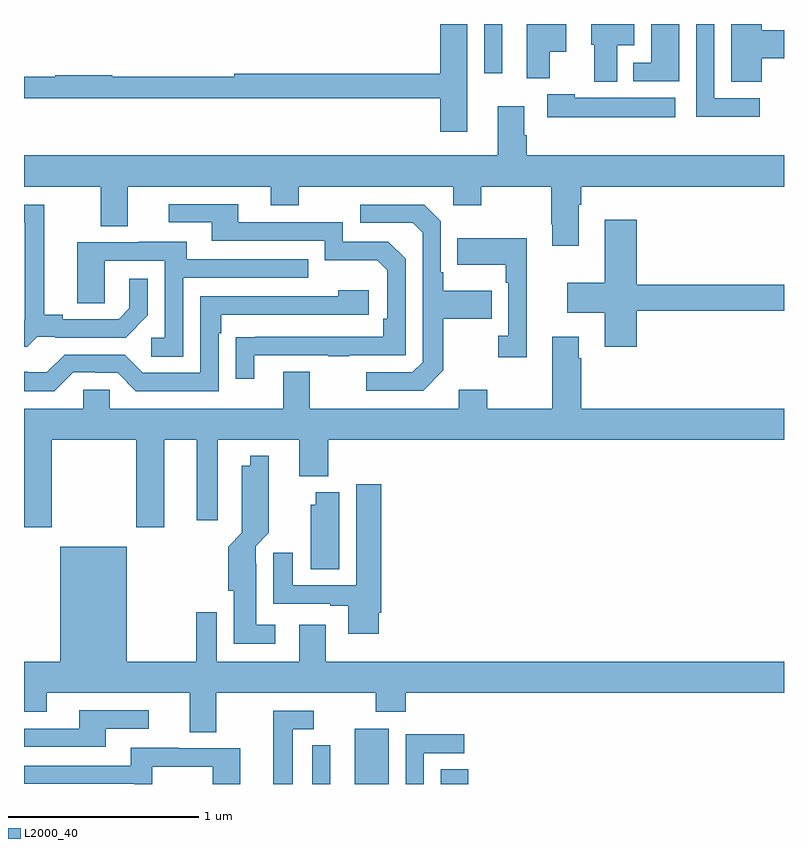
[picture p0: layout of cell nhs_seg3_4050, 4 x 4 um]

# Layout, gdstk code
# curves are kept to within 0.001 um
import gdstk
lib = gdstk.Library(unit=1e-6, precision=1e-09)
def R(c, l, rs):  # rectangles x0, y0, x1, y1
    for r in rs: c.add(gdstk.rectangle(r[:2], r[2:], *l))
def P(c, l, *ps):  # polygons
    for p in ps: c.add(gdstk.Polygon(p, *l))
L2000_40 = (2000, 40)

nhs_seg3_4050 = lib.new_cell('nhs_seg3_4050')
R(nhs_seg3_4050, L2000_40, [(324.74,736.4,324.919,736.69), (325.193,736.4,325.337,736.478), (325.422,740.142,325.518,740.4)])
P(nhs_seg3_4050, L2000_40, [(326.449,740.4),(326.3,740.4),(326.3,740.196),(326.207,740.196),(326.207,740.1),(326.449,740.1)],
  [(326.122,740.288),(326.212,740.288),(326.212,740.4),(325.985,740.4),(325.985,740.292),(326,740.292),(326,740.096),(326.122,740.096)],
  [(325.768,740.255),(325.855,740.255),(325.855,740.4),(325.646,740.4),(325.646,740.114),(325.768,740.114)],
  [(326.884,740.219),(327,740.219),(327,740.366),(326.884,740.366),(326.884,740.4),(326.723,740.4),(326.723,740.095),(326.884,740.095)],
  [(326.872,740.01),(326.634,740.01),(326.634,740.4),(326.538,740.4),(326.538,739.913),(326.872,739.913)],
  [(325.333,740.4),(325.19,740.4),(325.19,740.138),(324.106,740.138),(324.106,740.123),(323.465,740.123),(323.465,740.131),(323.165,740.131),(323.165,740.123),(323,740.123),(323,740.01),(325.19,740.01),(325.19,739.833),(325.333,739.833)],
  [(326.428,740.011),(325.899,740.011),(325.899,740.029),(325.755,740.029),(325.755,739.91),(326.428,739.91)],
  [(325.921,739.448),(325.934,739.448),(325.934,739.544),(327,739.544),(327,739.708),(325.646,739.708),(325.646,739.814),(325.633,739.814),(325.633,739.966),(325.493,739.966),(325.493,739.708),(323,739.708),(323,739.544),(323.405,739.544),(323.405,739.336),(323.545,739.336),(323.545,739.544),(324.299,739.544),(324.299,739.445),(324.447,739.445),(324.447,739.544),(325.26,739.544),(325.26,739.445),(325.407,739.445),(325.407,739.544),(325.774,739.544),(325.774,739.345),(325.781,739.345),(325.781,739.233),(325.921,739.233)],
  [(324.211,738.657),(324.601,738.657),(324.601,738.652),(324.713,738.652),(324.713,738.657),(325.008,738.657),(325.008,739.164),(324.918,739.254),(324.678,739.254),(324.678,739.356),(324.127,739.356),(324.127,739.452),(323.763,739.452),(323.763,739.356),(323.987,739.356),(323.987,739.26),(324.582,739.26),(324.582,739.157),(324.859,739.157),(324.912,739.104),(324.912,738.85),(324.892,738.85),(324.892,738.753),(324.115,738.752),(324.115,738.534),(324.211,738.534)],
  [(323.07,738.753),(323.164,738.753),(323.164,738.75),(323.536,738.75),(323.652,738.866),(323.652,739.06),(323.555,739.06),(323.555,738.903),(323.498,738.846),(323.203,738.846),(323.203,738.869),(323.107,738.869),(323.107,739.449),(323,739.449),(323,739.353),(323.003,739.353),(323.003,738.845),(323,738.842),(323,738.701),(323.018,738.701)],
  [(325.207,738.577),(325.207,738.85),(325.463,738.85),(325.463,738.997),(325.207,738.997),(325.207,739.093),(325.194,739.093),(325.194,739.362),(325.107,739.449),(324.771,739.449),(324.771,739.353),(325.047,739.353),(325.098,739.302),(325.098,738.621),(325.044,738.567),(324.801,738.567),(324.801,738.471),(325.101,738.471)],
  [(326.225,738.892),(327,738.892),(327,739.028),(326.225,739.028),(326.225,739.369),(326.057,739.369),(326.057,739.039),(325.86,739.039),(325.86,738.881),(326.057,738.881),(326.057,738.702),(326.225,738.702)],
  [(325.646,739.273),(325.279,739.273),(325.279,739.133),(325.536,739.133),(325.536,739.037),(325.548,739.037),(325.548,738.758),(325.497,738.758),(325.497,738.645),(325.646,738.645)],
  [(323.838,739.065),(324.497,739.065),(324.497,739.161),(323.857,739.161),(323.857,739.255),(323.603,739.255),(323.603,739.251),(323.279,739.251),(323.279,738.931),(323.424,738.931),(323.424,739.155),(323.742,739.155),(323.742,738.75),(323.67,738.75),(323.67,738.649),(323.838,738.649)],
  [(323.259,738.567),(323.375,738.567),(323.375,738.564),(323.493,738.564),(323.589,738.468),(324.024,738.468),(324.024,738.773),(324.037,738.773),(324.037,738.87),(324.814,738.87),(324.814,739),(324.653,739),(324.653,738.966),(323.928,738.966),(323.928,738.564),(323.625,738.564),(323.529,738.66),(323.214,738.66),(323.121,738.567),(323.021,738.567),(323.021,738.571),(323,738.571),(323,738.467),(323.159,738.467)],
  [(323.145,738.212),(323.59,738.212),(323.59,737.751),(323.737,737.751),(323.737,738.212),(323.909,738.212),(323.909,737.787),(324.019,737.787),(324.019,738.212),(324.449,738.212),(324.449,738.02),(324.602,738.02),(324.602,738.212),(327,738.212),(327,738.376),(325.934,738.376),(325.934,738.641),(325.921,738.641),(325.921,738.754),(325.781,738.754),(325.781,738.376),(325.437,738.376),(325.437,738.475),(325.289,738.475),(325.289,738.376),(324.505,738.376),(324.505,738.571),(324.365,738.571),(324.365,738.376),(323.451,738.376),(323.451,738.474),(323.313,738.474),(323.313,738.376),(323,738.376),(323,737.751),(323.145,737.751)],
  [(324.322,737.239),(324.223,737.239),(324.223,737.558),(324.219,737.558),(324.219,737.652),(324.289,737.722),(324.288,738.127),(324.191,738.127),(324.191,738.076),(324.146,738.076),(324.146,737.722),(324.074,737.65),(324.074,737.418),(324.104,737.418),(324.104,737.138),(324.322,737.138)],
  [(324.868,737.302),(324.881,737.302),(324.881,737.977),(324.749,737.977),(324.749,737.445),(324.415,737.445),(324.415,737.617),(324.311,737.617),(324.311,737.349),(324.611,737.349),(324.611,737.337),(324.707,737.337),(324.707,737.19),(324.868,737.19)],
  [(324.658,737.935),(324.536,737.935),(324.536,737.871),(324.509,737.871),(324.509,737.53),(324.658,737.53)],
  [(323.907,737.044),(323.542,737.044),(323.542,737.65),(323.192,737.65),(323.192,737.044),(323,737.044),(323,736.781),(323.119,736.781),(323.119,736.88),(323.873,736.88),(323.873,736.672),(324.013,736.672),(324.013,736.88),(324.85,736.88),(324.85,736.781),(325.01,736.781),(325.01,736.88),(327,736.88),(327,737.044),(324.589,737.044),(324.589,737.239),(324.449,737.239),(324.449,737.044),(324.015,737.044),(324.015,737.305),(323.907,737.305)],
  [(323.431,736.692),(323.656,736.692),(323.656,736.788),(323.291,736.788),(323.291,736.692),(323,736.692),(323,736.596),(323.431,736.596)],
  [(324.415,736.689),(324.526,736.689),(324.526,736.785),(324.311,736.785),(324.311,736.4),(324.415,736.4)],
  [(325.104,736.563),(325.318,736.563),(325.318,736.662),(325.008,736.662),(325.008,736.4),(325.104,736.4)],
  [(324.611,736.45),(324.612,736.45),(324.612,736.604),(324.516,736.604),(324.516,736.4),(324.611,736.4)],
  [(323.676,736.491),(323.994,736.491),(323.994,736.4),(324.139,736.4),(324.139,736.587),(323.815,736.587),(323.815,736.591),(323.561,736.591),(323.561,736.497),(323,736.497),(323,736.401),(323.58,736.401),(323.58,736.4),(323.676,736.4)])

lib.write_gds('nhs_seg3_4050.gds')
